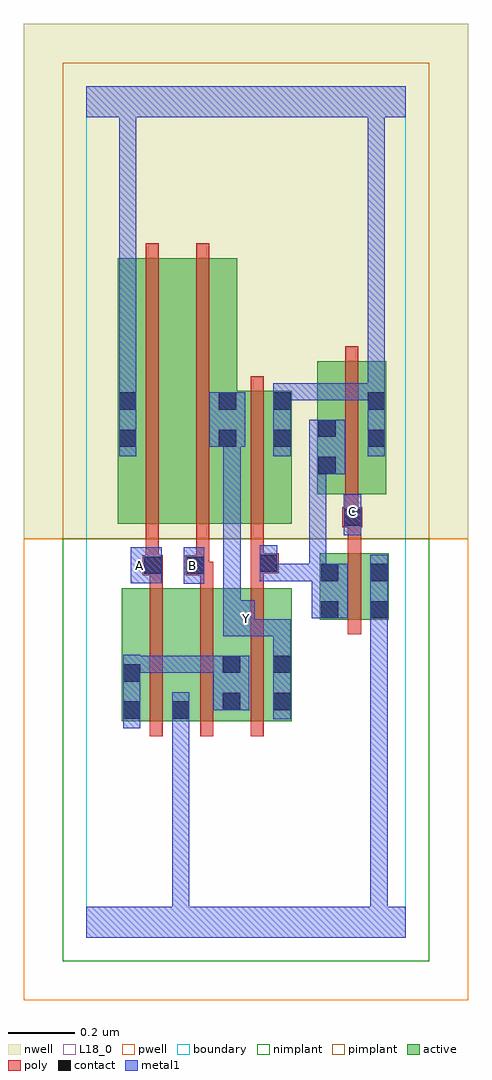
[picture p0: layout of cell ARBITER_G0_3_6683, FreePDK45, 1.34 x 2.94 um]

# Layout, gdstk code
import gdstk
lib = gdstk.Library(unit=1e-6, precision=1e-09)
def R(c, l, rs):  # rectangles x0, y0, x1, y1
    for r in rs: c.add(gdstk.rectangle(r[:2], r[2:], *l))
def A(c, l, x, y, w, h, nx, ny, dx, dy):  # array of equal rectangles
    R(c, l, [(x+i*dx, y+j*dy, x+i*dx+w, y+j*dy+h) for i in range(nx) for j in range(ny)])
active = (1, 0)
pwell = (2, 0)
nwell = (3, 0)
nimplant = (4, 0)
pimplant = (5, 0)
poly = (9, 0)
contact = (10, 0)
metal1 = (11, 0)
L18_0 = (18, 0)
boundary = (235, 0)

arbiter_g0_3_6683 = lib.new_cell('ARBITER_G0_3_6683')
R(arbiter_g0_3_6683, active, [(0.106,0.65,0.314,1.05), (0.254,0.65,0.466,1.05), (0.254,0.65,0.314,0.714), (0.406,0.65,0.618,1.05), (0.106,0.654,0.166,1.05), (0.406,0.68,0.466,0.852), (0.558,0.68,0.618,1.05), (0.702,0.956,0.762,1.156), (0.702,0.956,0.91,1.156), (0.85,0.956,0.91,1.156), (0.094,1.244,0.274,2.044), (0.094,1.244,0.154,2.044), (0.274,1.244,0.454,2.044), (0.394,1.244,0.454,1.644), (0.394,1.244,0.618,1.644), (0.558,1.244,0.618,1.644), (0.694,1.334,0.902,1.734), (0.694,1.334,0.754,1.644), (0.842,1.334,0.902,1.644)])
R(arbiter_g0_3_6683, pwell, [(-0.188,-0.188,1.148,1.2)])
R(arbiter_g0_3_6683, nwell, [(-0.188,1.2,1.148,2.748)])
R(arbiter_g0_3_6683, nimplant, [(-0.072,-0.072,1.032,1.2)])
R(arbiter_g0_3_6683, pimplant, [(-0.072,1.2,1.032,2.632)])
A(arbiter_g0_3_6683, poly, 0.19, 0.606, 0.04, 0.488, 3, 1, 0.152, 0)
R(arbiter_g0_3_6683, poly, [(0.786,0.912,0.826,1.2), (0.19,1.054,0.23,1.13), (0.342,1.054,0.382,1.13), (0.494,1.054,0.534,1.136), (0.17,1.09,0.23,1.15), (0.19,1.09,0.23,1.13), (0.19,1.09,0.23,1.13), (0.298,1.09,0.37,1.15), (0.33,1.09,0.37,1.13), (0.33,1.09,0.382,1.13), (0.494,1.096,0.534,1.136), (0.494,1.096,0.534,1.136), (0.494,1.096,0.578,1.156), (0.178,1.11,0.218,1.24), (0.33,1.11,0.37,1.24), (0.494,1.116,0.534,1.24), (0.786,1.16,0.826,1.274), (0.178,1.2,0.218,2.088), (0.33,1.2,0.37,2.088), (0.494,1.2,0.534,1.688), (0.77,1.234,0.83,1.294), (0.786,1.234,0.826,1.274), (0.786,1.234,0.826,1.274), (0.778,1.254,0.818,1.33), (0.778,1.29,0.818,1.778)])
R(arbiter_g0_3_6683, contact, [(0.11,0.658,0.162,0.71), (0.258,0.658,0.31,0.71), (0.41,0.684,0.462,0.736), (0.562,0.684,0.614,0.736), (0.11,0.77,0.162,0.822), (0.41,0.796,0.462,0.848), (0.562,0.796,0.614,0.848), (0.706,0.96,0.758,1.012), (0.854,0.96,0.906,1.012), (0.706,1.072,0.758,1.124), (0.854,1.072,0.906,1.124), (0.174,1.094,0.226,1.146), (0.302,1.094,0.354,1.146), (0.522,1.1,0.574,1.152), (0.774,1.238,0.826,1.29), (0.698,1.394,0.75,1.446), (0.098,1.476,0.15,1.528), (0.398,1.476,0.45,1.528), (0.562,1.476,0.614,1.528), (0.846,1.476,0.898,1.528), (0.698,1.506,0.75,1.558), (0.098,1.588,0.15,1.64), (0.398,1.588,0.45,1.64), (0.562,1.588,0.614,1.64), (0.846,1.588,0.898,1.64)])
R(arbiter_g0_3_6683, metal1, [(0,0,0.96,0.092), (0.258,0.04,0.31,0.092), (0.258,0.04,0.31,0.092), (0.258,0.04,0.31,0.092), (0.258,0.04,0.31,0.092), (0.258,0.04,0.31,0.092), (0.258,0.04,0.31,0.092), (0.258,0.04,0.31,0.092), (0.258,0.04,0.31,0.092), (0.258,0.04,0.31,0.092), (0.258,0.04,0.31,0.092), (0.258,0.04,0.31,0.092), (0.258,0.04,0.31,0.092), (0.258,0.04,0.31,0.682), (0.854,0.04,0.906,0.984), (0.11,0.63,0.162,0.85), (0.258,0.63,0.31,0.738), (0.562,0.656,0.614,0.876), (0.382,0.684,0.49,0.848), (0.11,0.796,0.162,0.848), (0.11,0.796,0.162,0.848), (0.11,0.796,0.312,0.848), (0.26,0.796,0.312,0.848), (0.26,0.796,0.312,0.848), (0.26,0.796,0.312,0.848), (0.26,0.796,0.434,0.848), (0.562,0.824,0.614,0.958), (0.412,0.906,0.506,1.014), (0.454,0.906,0.506,0.958), (0.454,0.906,0.506,0.958), (0.454,0.906,0.614,0.958), (0.562,0.906,0.614,0.958), (0.854,0.932,0.906,0.984), (0.854,0.932,0.906,0.984), (0.854,0.932,0.906,0.984), (0.854,0.932,0.906,0.984), (0.854,0.932,0.906,0.984), (0.854,0.932,0.906,0.984), (0.854,0.932,0.906,0.984), (0.854,0.932,0.906,0.984), (0.854,0.932,0.906,0.984), (0.854,0.932,0.906,0.984), (0.854,0.932,0.906,0.984), (0.854,0.932,0.906,0.984), (0.854,0.932,0.906,0.984), (0.854,0.932,0.906,0.984), (0.854,0.932,0.906,0.984), (0.854,0.932,0.906,0.984), (0.854,0.932,0.906,1.152), (0.678,0.96,0.786,1.124), (0.412,0.962,0.464,1.014), (0.412,0.962,0.464,1.014), (0.412,0.962,0.464,1.528), (0.292,1.064,0.354,1.174), (0.134,1.066,0.226,1.174), (0.522,1.072,0.716,1.124), (0.522,1.072,0.574,1.18), (0.664,1.072,0.716,1.124), (0.664,1.072,0.716,1.124), (0.664,1.072,0.722,1.124), (0.67,1.072,0.722,1.124), (0.67,1.072,0.722,1.446), (0.67,1.072,0.73,1.124), (0.678,1.072,0.73,1.124), (0.774,1.21,0.826,1.334), (0.67,1.394,0.778,1.558), (0.098,1.448,0.15,1.668), (0.562,1.448,0.614,1.668), (0.846,1.448,0.898,1.668), (0.37,1.476,0.478,1.64), (0.098,1.616,0.15,1.668), (0.098,1.616,0.15,1.668), (0.098,1.616,0.15,1.668), (0.098,1.616,0.15,1.668), (0.098,1.616,0.15,1.668), (0.098,1.616,0.15,1.668), (0.098,1.616,0.15,1.668), (0.098,1.616,0.15,1.668), (0.098,1.616,0.15,2.52), (0.562,1.616,0.788,1.668), (0.736,1.616,0.788,1.668), (0.736,1.616,0.898,1.668), (0.846,1.616,0.898,1.668), (0.846,1.616,0.898,1.668), (0.846,1.616,0.898,1.668), (0.846,1.616,0.898,1.668), (0.846,1.616,0.898,1.668), (0.846,1.616,0.898,1.668), (0.846,1.616,0.898,1.668), (0.846,1.616,0.898,1.668), (0.846,1.616,0.898,1.668), (0.846,1.616,0.898,1.668), (0.846,1.616,0.898,1.668), (0.846,1.616,0.898,1.668), (0.846,1.616,0.898,1.668), (0.846,1.616,0.898,1.668), (0.846,1.616,0.898,2.52), (0,2.468,0.96,2.56), (0.846,2.468,0.898,2.52), (0.846,2.468,0.898,2.52), (0.846,2.468,0.898,2.52), (0.846,2.468,0.898,2.52)])
R(arbiter_g0_3_6683, L18_0, [(0,0,0.96,0.092), (0.258,0.04,0.31,0.092), (0.258,0.04,0.31,0.092), (0.258,0.04,0.31,0.092), (0.258,0.04,0.31,0.092), (0.258,0.04,0.31,0.092), (0.258,0.04,0.31,0.092), (0.258,0.04,0.31,0.092), (0.258,0.04,0.31,0.092), (0.258,0.04,0.31,0.092), (0.258,0.04,0.31,0.092), (0.258,0.04,0.31,0.092), (0.258,0.04,0.31,0.092), (0.258,0.04,0.31,0.682), (0.854,0.04,0.906,0.984), (0.258,0.63,0.31,0.738), (0.562,0.656,0.614,0.876), (0.562,0.824,0.614,0.958), (0.412,0.906,0.506,1.014), (0.454,0.906,0.506,0.958), (0.454,0.906,0.506,0.958), (0.454,0.906,0.614,0.958), (0.562,0.906,0.614,0.958), (0.854,0.932,0.906,1.152), (0.854,0.932,0.906,0.984), (0.854,0.932,0.906,0.984), (0.854,0.932,0.906,0.984), (0.854,0.932,0.906,0.984), (0.854,0.932,0.906,0.984), (0.854,0.932,0.906,0.984), (0.854,0.932,0.906,0.984), (0.854,0.932,0.906,0.984), (0.854,0.932,0.906,0.984), (0.854,0.932,0.906,0.984), (0.854,0.932,0.906,0.984), (0.854,0.932,0.906,0.984), (0.854,0.932,0.906,0.984), (0.854,0.932,0.906,0.984), (0.854,0.932,0.906,0.984), (0.854,0.932,0.906,0.984), (0.454,0.934,0.506,0.986), (0.412,0.962,0.464,1.014), (0.412,0.962,0.464,1.014), (0.412,0.962,0.464,1.528), (0.292,1.064,0.354,1.174), (0.134,1.066,0.226,1.174), (0.134,1.094,0.186,1.146), (0.294,1.094,0.346,1.146), (0.774,1.21,0.826,1.334), (0.774,1.254,0.826,1.306), (0.098,1.448,0.15,1.668), (0.562,1.448,0.614,1.668), (0.846,1.448,0.898,1.668), (0.37,1.476,0.478,1.64), (0.098,1.616,0.15,1.668), (0.098,1.616,0.15,1.668), (0.098,1.616,0.15,1.668), (0.098,1.616,0.15,1.668), (0.098,1.616,0.15,1.668), (0.098,1.616,0.15,1.668), (0.098,1.616,0.15,1.668), (0.098,1.616,0.15,1.668), (0.098,1.616,0.15,2.52), (0.562,1.616,0.788,1.668), (0.736,1.616,0.788,1.668), (0.736,1.616,0.898,1.668), (0.846,1.616,0.898,1.668), (0.846,1.616,0.898,1.668), (0.846,1.616,0.898,1.668), (0.846,1.616,0.898,1.668), (0.846,1.616,0.898,1.668), (0.846,1.616,0.898,1.668), (0.846,1.616,0.898,1.668), (0.846,1.616,0.898,1.668), (0.846,1.616,0.898,1.668), (0.846,1.616,0.898,1.668), (0.846,1.616,0.898,1.668), (0.846,1.616,0.898,1.668), (0.846,1.616,0.898,1.668), (0.846,1.616,0.898,1.668), (0.846,1.616,0.898,2.52), (0,2.468,0.96,2.56), (0.846,2.468,0.898,2.52), (0.846,2.468,0.898,2.52), (0.846,2.468,0.898,2.52), (0.846,2.468,0.898,2.52)])
R(arbiter_g0_3_6683, boundary, [(0,0,0.96,2.56)])
arbiter_g0_3_6683.add(gdstk.Label('A', (0.16,1.12), layer=11, texttype=0))
arbiter_g0_3_6683.add(gdstk.Label('B', (0.32,1.12), layer=11, texttype=0))
arbiter_g0_3_6683.add(gdstk.Label('C', (0.8,1.28), layer=11, texttype=0))
arbiter_g0_3_6683.add(gdstk.Label('Y', (0.48,0.96), layer=11, texttype=0))

lib.write_gds('ARBITER_G0_3_6683.gds')
